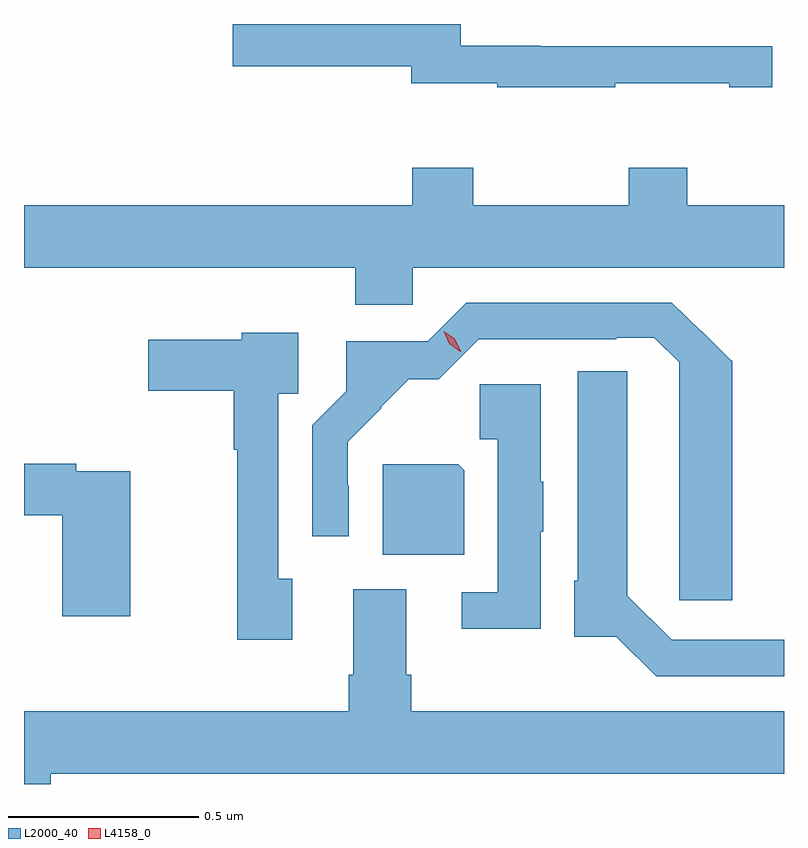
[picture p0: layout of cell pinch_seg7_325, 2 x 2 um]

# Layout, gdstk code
import gdstk
lib = gdstk.Library(unit=1e-6, precision=1e-09)
def P(c, l, *ps):  # polygons
    for p in ps: c.add(gdstk.Polygon(p, *l))
L2000_40 = (2000, 40)
L4158_0 = (4158, 0)

pinch_seg7_325 = lib.new_cell('pinch_seg7_325')
P(pinch_seg7_325, L2000_40, [(544.853,1069.033),(545.153,1069.033),(545.153,1069.023),(545.266,1069.023),(545.266,1069.131),(544.656,1069.131),(544.656,1069.132),(544.446,1069.132),(544.446,1069.189),(543.846,1069.189),(543.846,1069.078),(544.316,1069.078),(544.316,1069.033),(544.543,1069.033),(544.543,1069.023),(544.853,1069.023)],
  [(544.32,1068.548),(545.297,1068.548),(545.297,1068.712),(545.043,1068.712),(545.043,1068.811),(544.888,1068.811),(544.888,1068.712),(544.479,1068.712),(544.479,1068.811),(544.319,1068.811),(544.319,1068.712),(543.297,1068.712),(543.297,1068.548),(544.169,1068.548),(544.169,1068.45),(544.32,1068.45)],
  [(545.161,1068.303),(545.158,1068.303),(545.081,1068.38),(545.08,1068.379),(545.002,1068.456),(544.461,1068.456),(544.359,1068.354),(544.145,1068.354),(544.145,1068.222),(544.056,1068.133),(544.056,1067.841),(544.152,1067.841),(544.152,1067.975),(544.149,1067.975),(544.149,1068.09),(544.238,1068.179),(544.236,1068.181),(544.309,1068.254),(544.388,1068.254),(544.494,1068.36),(544.856,1068.36),(544.856,1068.363),(544.956,1068.363),(545.021,1068.299),(545.021,1067.673),(545.161,1067.673)],
  [(544.003,1067.729),(543.966,1067.729),(543.966,1068.216),(544.019,1068.216),(544.019,1068.376),(543.87,1068.376),(543.87,1068.358),(543.624,1068.358),(543.624,1068.224),(543.849,1068.224),(543.849,1068.069),(543.858,1068.069),(543.858,1067.568),(544.003,1067.568)],
  [(545.297,1067.568),(545.001,1067.568),(544.885,1067.684),(544.885,1068.275),(544.754,1068.275),(544.754,1067.724),(544.745,1067.724),(544.745,1067.577),(544.856,1067.577),(544.961,1067.472),(545.297,1067.472)],
  [(544.657,1067.853),(544.663,1067.853),(544.663,1067.985),(544.657,1067.985),(544.657,1068.241),(544.496,1068.241),(544.496,1068.096),(544.544,1068.096),(544.544,1067.694),(544.449,1067.694),(544.449,1067.597),(544.657,1067.597)],
  [(543.576,1068.012),(543.434,1068.012),(543.434,1068.032),(543.297,1068.032),(543.297,1067.896),(543.398,1067.896),(543.398,1067.631),(543.576,1067.631)],
  [(544.456,1068.015),(544.44,1068.031),(544.241,1068.031),(544.241,1067.792),(544.456,1067.792)],
  [(544.303,1067.476),(544.303,1067.701),(544.163,1067.701),(544.163,1067.476),(544.151,1067.476),(544.151,1067.38),(543.297,1067.38),(543.297,1067.189),(543.368,1067.189),(543.368,1067.216),(545.297,1067.216),(545.297,1067.38),(544.316,1067.38),(544.316,1067.476)])
P(pinch_seg7_325, L4158_0, [(544.445,1068.327),(544.416,1068.348),(544.402,1068.381),(544.402,1068.381),(544.402,1068.381),(544.431,1068.361),(544.446,1068.328),(544.446,1068.327)])

lib.write_gds('pinch_seg7_325.gds')
